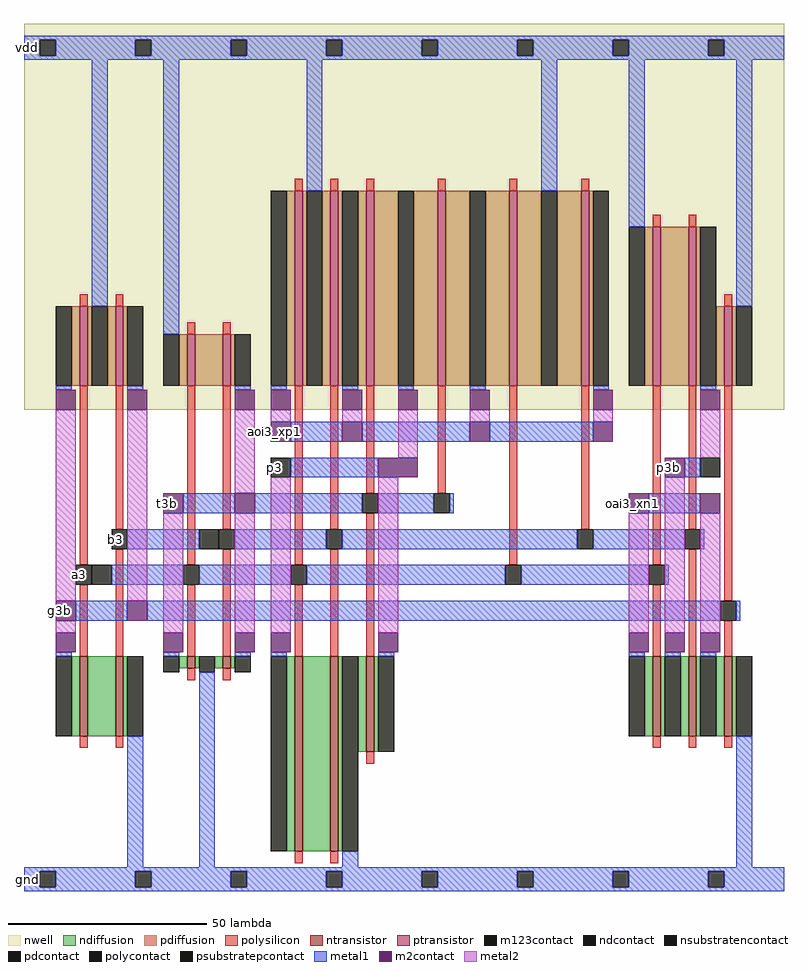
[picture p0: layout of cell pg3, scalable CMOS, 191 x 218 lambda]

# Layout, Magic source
magic
tech scmos
<< nwell >>
rect 0 121 191 218
<< ntransistor >>
rect 14 39 16 59
rect 23 39 25 59
rect 41 56 43 59
rect 50 56 52 59
rect 68 10 70 59
rect 77 10 79 59
rect 86 35 88 59
rect 158 39 160 59
rect 167 39 169 59
rect 176 39 178 59
<< ptransistor >>
rect 14 127 16 147
rect 23 127 25 147
rect 41 127 43 140
rect 50 127 52 140
rect 68 127 70 176
rect 77 127 79 176
rect 86 127 88 176
rect 104 127 106 176
rect 122 127 124 176
rect 140 127 142 176
rect 158 127 160 167
rect 167 127 169 167
rect 176 127 178 147
<< ndiffusion >>
rect 12 39 14 59
rect 16 39 23 59
rect 25 39 26 59
rect 39 56 41 59
rect 43 56 44 59
rect 48 56 50 59
rect 52 56 53 59
rect 66 10 68 59
rect 70 10 77 59
rect 79 10 80 59
rect 84 35 86 59
rect 88 35 89 59
rect 156 39 158 59
rect 160 39 161 59
rect 165 39 167 59
rect 169 39 170 59
rect 174 39 176 59
rect 178 39 179 59
<< pdiffusion >>
rect 12 127 14 147
rect 16 127 17 147
rect 21 127 23 147
rect 25 127 26 147
rect 39 127 41 140
rect 43 127 50 140
rect 52 127 53 140
rect 66 127 68 176
rect 70 127 71 176
rect 75 127 77 176
rect 79 127 80 176
rect 84 127 86 176
rect 88 127 94 176
rect 98 127 104 176
rect 106 127 112 176
rect 116 127 122 176
rect 124 127 130 176
rect 134 127 140 176
rect 142 127 143 176
rect 156 127 158 167
rect 160 127 167 167
rect 169 127 170 167
rect 174 127 176 147
rect 178 127 179 147
<< ndcontact >>
rect 8 39 12 59
rect 26 39 30 59
rect 35 55 39 59
rect 44 55 48 59
rect 53 55 57 59
rect 62 10 66 59
rect 80 10 84 59
rect 89 35 93 59
rect 152 39 156 59
rect 161 39 165 59
rect 170 39 174 59
rect 179 39 183 59
<< pdcontact >>
rect 8 127 12 147
rect 17 127 21 147
rect 26 127 30 147
rect 35 127 39 140
rect 53 127 57 140
rect 62 127 66 176
rect 71 127 75 176
rect 80 127 84 176
rect 94 127 98 176
rect 112 127 116 176
rect 130 127 134 176
rect 143 127 147 176
rect 152 127 156 167
rect 170 127 174 167
rect 179 127 183 147
<< psubstratepcontact >>
rect 4 1 8 5
rect 28 1 32 5
rect 52 1 56 5
rect 76 1 80 5
rect 100 1 104 5
rect 124 1 128 5
rect 148 1 152 5
rect 172 1 176 5
<< nsubstratencontact >>
rect 4 210 8 214
rect 28 210 32 214
rect 52 210 56 214
rect 76 210 80 214
rect 100 210 104 214
rect 124 210 128 214
rect 148 210 152 214
rect 172 210 176 214
<< polysilicon >>
rect 68 176 70 179
rect 77 176 79 179
rect 86 176 88 179
rect 104 176 106 179
rect 122 176 124 179
rect 140 176 142 179
rect 14 147 16 150
rect 23 147 25 150
rect 41 140 43 143
rect 50 140 52 143
rect 158 167 160 170
rect 167 167 169 170
rect 176 147 178 150
rect 14 82 16 127
rect 23 91 25 127
rect 14 59 16 77
rect 23 59 25 86
rect 41 82 43 127
rect 50 91 52 127
rect 41 59 43 77
rect 50 59 52 86
rect 68 82 70 127
rect 77 91 79 127
rect 86 100 88 127
rect 104 100 106 127
rect 68 59 70 77
rect 77 59 79 86
rect 86 59 88 95
rect 122 82 124 127
rect 140 91 142 127
rect 158 82 160 127
rect 167 91 169 127
rect 158 59 160 77
rect 167 59 169 86
rect 176 73 178 127
rect 176 59 178 68
rect 41 53 43 56
rect 50 53 52 56
rect 14 36 16 39
rect 23 36 25 39
rect 158 36 160 39
rect 167 36 169 39
rect 176 36 178 39
rect 86 32 88 35
rect 68 7 70 10
rect 77 7 79 10
<< polycontact >>
rect 22 86 26 91
rect 13 77 17 82
rect 49 86 53 91
rect 40 77 44 82
rect 85 95 89 100
rect 103 95 107 100
rect 76 86 80 91
rect 67 77 71 82
rect 139 86 143 91
rect 166 86 170 91
rect 121 77 125 82
rect 157 77 161 82
rect 175 68 179 73
<< metal1 >>
rect 0 214 191 215
rect 0 210 4 214
rect 8 210 28 214
rect 32 210 52 214
rect 56 210 76 214
rect 80 210 100 214
rect 104 210 124 214
rect 128 210 148 214
rect 152 210 172 214
rect 176 210 191 214
rect 0 209 191 210
rect 17 147 21 209
rect 35 140 39 209
rect 71 176 75 209
rect 130 176 134 209
rect 8 126 12 127
rect 26 126 30 127
rect 53 126 57 127
rect 62 126 66 127
rect 80 126 84 127
rect 94 126 98 127
rect 152 167 156 209
rect 179 147 183 209
rect 112 126 116 127
rect 143 126 147 127
rect 170 126 174 127
rect 67 113 80 118
rect 85 113 112 118
rect 117 113 143 118
rect 67 104 89 109
rect 166 104 170 109
rect 40 95 53 100
rect 58 95 85 100
rect 89 95 103 100
rect 107 95 108 100
rect 157 95 170 100
rect 26 86 44 91
rect 53 86 76 91
rect 80 86 139 91
rect 143 86 166 91
rect 170 86 171 91
rect 22 77 40 82
rect 44 77 67 82
rect 71 77 121 82
rect 125 77 157 82
rect 161 77 162 82
rect 13 68 26 73
rect 31 68 175 73
rect 179 68 180 73
rect 8 59 12 60
rect 35 59 39 60
rect 53 59 57 60
rect 62 59 66 60
rect 89 59 93 60
rect 26 6 30 39
rect 44 6 48 55
rect 152 59 156 60
rect 161 59 165 60
rect 170 59 174 60
rect 80 6 84 10
rect 179 6 183 39
rect 0 5 191 6
rect 0 1 4 5
rect 8 1 28 5
rect 32 1 52 5
rect 56 1 76 5
rect 80 1 100 5
rect 104 1 124 5
rect 128 1 148 5
rect 152 1 172 5
rect 176 1 191 5
rect 0 0 191 1
<< m2contact >>
rect 8 121 13 126
rect 26 121 31 126
rect 53 121 58 126
rect 62 121 67 126
rect 80 121 85 126
rect 94 121 99 126
rect 112 121 117 126
rect 143 121 148 126
rect 170 121 175 126
rect 62 113 67 118
rect 80 113 85 118
rect 112 113 117 118
rect 143 113 148 118
rect 89 104 99 109
rect 161 104 166 109
rect 35 95 40 100
rect 53 95 58 100
rect 152 95 157 100
rect 170 95 175 100
rect 8 68 13 73
rect 26 68 31 73
rect 8 60 13 65
rect 35 60 40 65
rect 53 60 58 65
rect 62 60 67 65
rect 89 60 94 65
rect 152 60 157 65
rect 161 60 166 65
rect 170 60 175 65
<< metal2 >>
rect 8 73 13 121
rect 26 73 31 121
rect 53 100 58 121
rect 62 118 67 121
rect 80 118 85 121
rect 94 109 99 121
rect 112 118 117 121
rect 143 118 148 121
rect 170 109 175 121
rect 8 65 13 68
rect 35 65 40 95
rect 53 65 58 95
rect 62 65 67 104
rect 89 65 94 104
rect 152 65 157 95
rect 161 65 166 104
rect 170 65 175 95
<< m123contact >>
rect 17 77 22 82
rect 44 86 49 91
rect 62 104 67 109
rect 170 104 175 109
<< labels >>
rlabel metal1 13 77 15 82 0 a3
port 1 nsew
rlabel metal1 22 86 24 91 0 b3
port 2 nsew
rlabel metal1 62 104 64 109 0 p3
port 3 nsew
rlabel m2contact 161 104 163 109 0 p3b
port 4 nsew
rlabel m2contact 62 113 64 118 0 aoi3_xp1
rlabel m2contact 8 68 10 73 0 g3b
rlabel m2contact 152 95 154 100 0 oai3_xn1
rlabel m2contact 35 95 37 100 0 t3b
rlabel metal1 0 209 2 215 0 vdd
port 5 nsew
rlabel metal1 0 0 2 6 0 gnd
port 6 nsew
<< end >>
